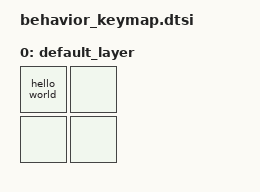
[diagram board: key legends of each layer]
/*
 * Copyright (c) XXXX The ZMK Contributors
 *
 * SPDX-License-Identifier: MIT
 */

#include <dt-bindings/zmk/keys.h>
#include <behaviors.dtsi>
#include <dt-bindings/zmk/kscan_mock.h>
#include <behaviors/hello_world.dtsi>

/ {
    keymap {
        compatible = "zmk,keymap";

        default_layer {
            bindings = <
                &hello_world &none
                &none        &none>;
        };
    };
};
